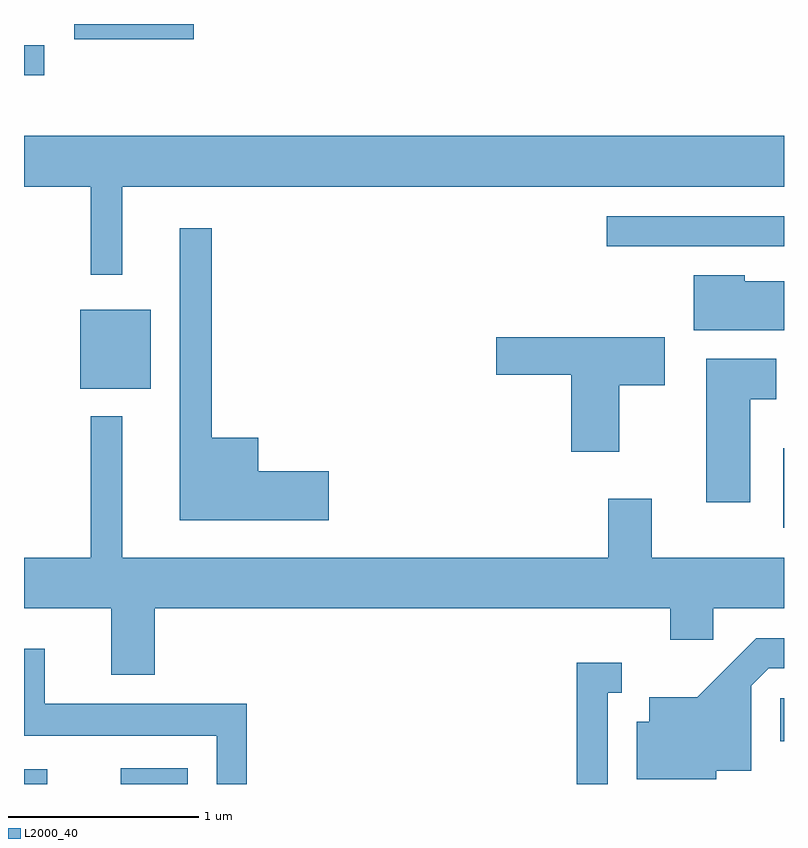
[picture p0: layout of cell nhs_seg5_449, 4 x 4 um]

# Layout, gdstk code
import gdstk
lib = gdstk.Library(unit=1e-6, precision=1e-09)
def R(c, l, rs):  # rectangles x0, y0, x1, y1
    for r in rs: c.add(gdstk.rectangle(r[:2], r[2:], *l))
def P(c, l, *ps):  # polygons
    for p in ps: c.add(gdstk.Polygon(p, *l))
L2000_40 = (2000, 40)

nhs_seg5_449 = lib.new_cell('nhs_seg5_449')
R(nhs_seg5_449, L2000_40, [(197.611,1478.072,197.734,1478.149), (198.121,1478.072,198.474,1478.154), (201.591,1478.296,201.611,1478.524), (201.606,1479.421,201.611,1479.839), (197.906,1480.151,198.279,1480.569), (200.678,1480.901,201.611,1481.059), (197.611,1481.801,197.718,1481.959), (197.876,1481.991,198.504,1482.072)])
P(nhs_seg5_449, L2000_40, [(198.129,1481.216),(201.611,1481.216),(201.611,1481.484),(197.611,1481.484),(197.611,1481.216),(197.961,1481.216),(197.961,1480.753),(198.129,1480.753)],
  [(199.214,1479.719),(198.844,1479.719),(198.844,1479.894),(198.599,1479.894),(198.599,1480.998),(198.431,1480.998),(198.431,1479.461),(199.214,1479.461)],
  [(201.611,1480.719),(201.404,1480.719),(201.404,1480.749),(201.136,1480.749),(201.136,1480.461),(201.611,1480.461)],
  [(200.744,1480.171),(200.984,1480.171),(200.984,1480.424),(200.096,1480.424),(200.096,1480.226),(200.491,1480.226),(200.491,1479.821),(200.744,1479.821)],
  [(201.434,1480.096),(201.569,1480.096),(201.569,1480.309),(201.201,1480.309),(201.201,1479.556),(201.434,1479.556)],
  [(198.299,1478.996),(201.011,1478.996),(201.011,1478.831),(201.239,1478.831),(201.239,1478.996),(201.611,1478.996),(201.611,1479.264),(200.914,1479.264),(200.914,1479.574),(200.686,1479.574),(200.686,1479.264),(198.129,1479.264),(198.129,1480.008),(197.961,1480.008),(197.961,1479.264),(197.611,1479.264),(197.611,1478.996),(198.071,1478.996),(198.071,1478.646),(198.299,1478.646)],
  [(201.254,1478.141),(201.439,1478.141),(201.439,1478.589),(201.532,1478.681),(201.611,1478.681),(201.611,1478.839),(201.464,1478.839),(201.154,1478.529),(200.901,1478.529),(200.901,1478.399),(200.836,1478.399),(200.836,1478.096),(201.254,1478.096)],
  [(198.784,1478.494),(197.719,1478.494),(197.719,1478.784),(197.611,1478.784),(197.611,1478.326),(198.626,1478.326),(198.626,1478.072),(198.784,1478.072)],
  [(200.684,1478.551),(200.758,1478.551),(200.758,1478.709),(200.521,1478.709),(200.521,1478.072),(200.684,1478.072)])

lib.write_gds('nhs_seg5_449.gds')
